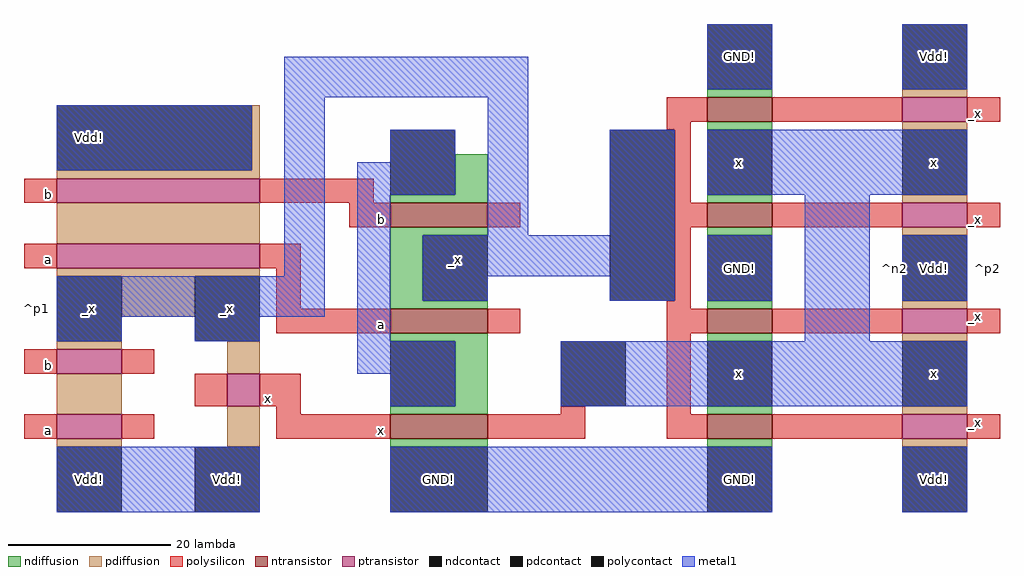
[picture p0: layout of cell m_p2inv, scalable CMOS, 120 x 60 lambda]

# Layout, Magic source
magic
tech scmos
<< ndiffusion >>
rect 167 98 175 99
rect 136 86 140 91
rect 128 85 140 86
rect 128 81 140 82
rect 128 73 132 81
rect 167 94 175 95
rect 167 85 175 86
rect 128 72 140 73
rect 167 81 175 82
rect 167 72 175 73
rect 128 68 140 69
rect 136 60 140 68
rect 128 59 140 60
rect 167 68 175 69
rect 167 59 175 60
rect 128 55 140 56
rect 167 55 175 56
<< pdiffusion >>
rect 191 98 199 99
rect 111 89 112 97
rect 87 88 112 89
rect 87 80 112 85
rect 87 76 112 77
rect 95 71 104 76
rect 191 94 199 95
rect 191 85 199 86
rect 191 81 199 82
rect 191 72 199 73
rect 87 67 95 68
rect 108 64 112 68
rect 87 59 95 64
rect 87 55 95 56
rect 108 55 112 60
rect 191 68 199 69
rect 191 59 199 60
rect 191 55 199 56
<< ntransistor >>
rect 167 95 175 98
rect 128 82 140 85
rect 167 82 175 85
rect 128 69 140 72
rect 167 69 175 72
rect 128 56 140 59
rect 167 56 175 59
<< ptransistor >>
rect 191 95 199 98
rect 87 85 112 88
rect 87 77 112 80
rect 191 82 199 85
rect 191 69 199 72
rect 87 64 95 67
rect 108 60 112 64
rect 87 56 95 59
rect 191 56 199 59
<< polysilicon >>
rect 162 95 167 98
rect 175 95 191 98
rect 199 95 203 98
rect 162 94 165 95
rect 83 85 87 88
rect 112 85 126 88
rect 123 82 128 85
rect 140 82 144 85
rect 83 77 87 80
rect 112 77 117 80
rect 114 72 117 77
rect 163 85 165 94
rect 163 82 167 85
rect 175 82 191 85
rect 199 82 203 85
rect 163 73 165 82
rect 162 72 165 73
rect 114 69 128 72
rect 140 69 144 72
rect 162 69 167 72
rect 175 69 191 72
rect 199 69 203 72
rect 83 64 87 67
rect 95 64 99 67
rect 104 60 108 64
rect 112 60 117 64
rect 83 56 87 59
rect 95 56 99 59
rect 114 59 117 60
rect 149 59 152 60
rect 114 56 128 59
rect 140 56 152 59
rect 162 59 165 69
rect 162 56 167 59
rect 175 56 191 59
rect 199 56 203 59
<< ndcontact >>
rect 167 99 175 107
rect 128 86 136 94
rect 132 73 140 81
rect 167 86 175 94
rect 167 73 175 81
rect 128 60 136 68
rect 167 60 175 68
rect 128 47 140 55
rect 167 47 175 55
<< pdcontact >>
rect 191 99 199 107
rect 87 89 111 97
rect 87 68 95 76
rect 104 68 112 76
rect 191 86 199 94
rect 191 73 199 81
rect 191 60 199 68
rect 87 47 95 55
rect 104 47 112 55
rect 191 47 199 55
<< polycontact >>
rect 155 73 163 94
rect 149 60 157 68
<< metal1 >>
rect 115 98 145 103
rect 167 99 175 107
rect 191 99 199 107
rect 87 89 111 97
rect 115 76 120 98
rect 128 90 136 94
rect 87 71 120 76
rect 124 86 136 90
rect 87 68 95 71
rect 104 68 112 71
rect 124 68 128 86
rect 140 81 145 98
rect 155 81 163 94
rect 167 86 199 94
rect 132 76 163 81
rect 132 73 140 76
rect 155 73 163 76
rect 167 73 175 81
rect 179 68 187 86
rect 191 73 199 81
rect 124 64 136 68
rect 128 60 136 64
rect 149 60 199 68
rect 87 47 112 55
rect 128 47 175 55
rect 191 47 199 55
<< labels >>
rlabel polysilicon 127 57 127 57 1 x
rlabel polysilicon 127 83 127 83 1 b
rlabel polysilicon 127 70 127 70 1 a
rlabel metal1 108 51 108 51 1 Vdd!
rlabel polysilicon 86 86 86 86 3 b
rlabel polysilicon 86 78 86 78 3 a
rlabel polysilicon 86 65 86 65 3 b
rlabel polysilicon 86 57 86 57 3 a
rlabel metal1 91 93 91 93 1 Vdd!
rlabel metal1 91 51 91 51 1 Vdd!
rlabel metal1 91 72 91 72 1 _x
rlabel metal1 136 78 136 78 1 _x
rlabel metal1 134 51 134 51 1 GND!
rlabel metal1 171 51 171 51 1 GND!
rlabel polysilicon 200 71 200 71 5 _x
rlabel polysilicon 200 58 200 58 5 _x
rlabel metal1 195 51 195 51 1 Vdd!
rlabel metal1 195 64 195 64 5 x
rlabel metal1 171 77 171 77 1 GND!
rlabel polysilicon 200 83 200 83 1 _x
rlabel metal1 195 77 195 77 1 Vdd!
rlabel polysilicon 200 96 200 96 1 _x
rlabel metal1 195 103 195 103 5 Vdd!
rlabel metal1 195 90 195 90 1 x
rlabel metal1 171 103 171 103 5 GND!
rlabel metal1 171 90 171 90 1 x
rlabel metal1 171 64 171 64 5 x
rlabel metal1 108 72 108 72 1 _x
rlabel polysilicon 113 61 113 61 5 x
rlabel space 82 47 87 97 7 ^p1
rlabel space 199 47 204 107 3 ^p2
rlabel space 175 46 205 108 3 ^n2
<< end >>
